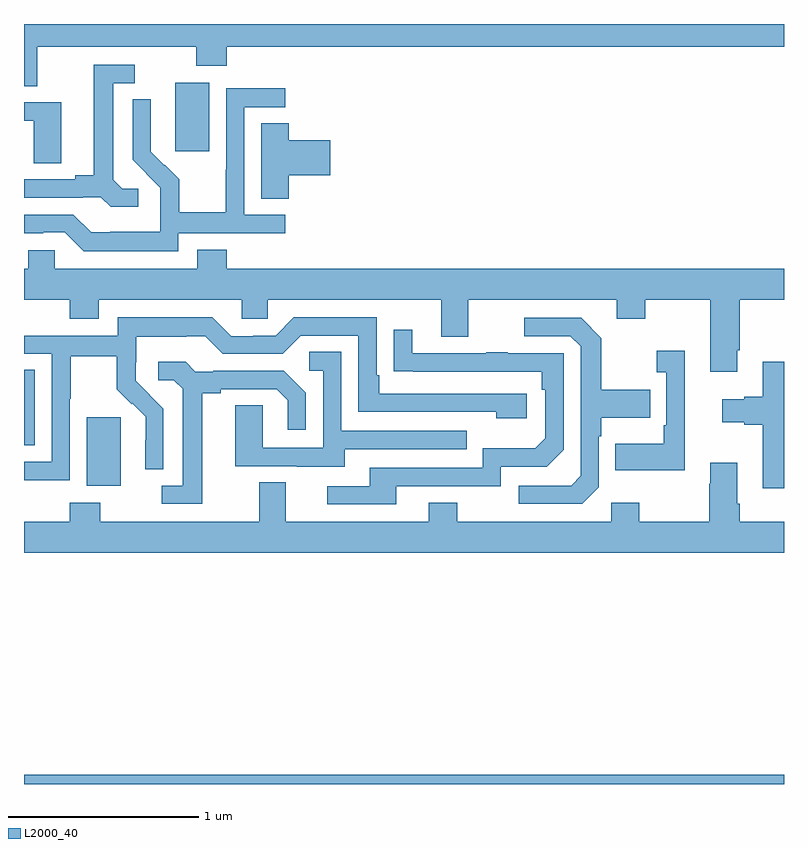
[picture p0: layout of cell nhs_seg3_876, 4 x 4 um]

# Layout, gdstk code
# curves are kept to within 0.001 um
import gdstk
lib = gdstk.Library(unit=1e-6, precision=1e-09)
def R(c, l, rs):  # rectangles x0, y0, x1, y1
    for r in rs: c.add(gdstk.rectangle(r[:2], r[2:], *l))
def P(c, l, *ps):  # polygons
    for p in ps: c.add(gdstk.Polygon(p, *l))
L2000_40 = (2000, 40)

nhs_seg3_876 = lib.new_cell('nhs_seg3_876')
R(nhs_seg3_876, L2000_40, [(157,666.4,161,666.448), (157.331,667.97,157.51,668.331), (157,668.182,157.057,668.579), (157.796,669.729,157.975,670.09)])
P(nhs_seg3_876, L2000_40, [(157.069,670.28),(157.906,670.28),(157.906,670.181),(158.066,670.181),(158.066,670.28),(161,670.28),(161,670.4),(157,670.4),(157,670.072),(157.069,670.072)],
  [(157.6,669.534),(157.518,669.534),(157.471,669.581),(157.471,670.089),(157.582,670.089),(157.582,670.185),(157.367,670.185),(157.367,669.605),(157.271,669.605),(157.271,669.582),(157,669.582),(157,669.486),(157.31,669.486),(157.31,669.489),(157.404,669.489),(157.456,669.437),(157.6,669.437)],
  [(157.812,669.3),(158.374,669.3),(158.374,669.396),(158.16,669.396),(158.16,669.963),(158.374,669.963),(158.374,670.062),(158.064,670.062),(158.064,669.632),(158.062,669.632),(158.062,669.409),(157.817,669.409),(157.817,669.583),(157.74,669.66),(157.737,669.657),(157.667,669.728),(157.668,670.004),(157.572,670.004),(157.572,669.686),(157.718,669.538),(157.718,669.441),(157.716,669.441),(157.716,669.307),(157.453,669.307),(157.453,669.303),(157.353,669.303),(157.26,669.396),(157,669.396),(157,669.3),(157.1,669.3),(157.1,669.303),(157.215,669.303),(157.315,669.203),(157.812,669.203)],
  [(157.195,669.987),(157,669.987),(157,669.891),(157.05,669.891),(157.05,669.667),(157.195,669.667)],
  [(158.393,669.605),(158.611,669.605),(158.611,669.788),(158.393,669.788),(158.393,669.878),(158.249,669.878),(158.249,669.481),(158.393,669.481)],
  [(160.753,668.683),(160.766,668.683),(160.766,668.948),(161,668.948),(161,669.112),(158.066,669.112),(158.066,669.211),(157.913,669.211),(157.913,669.112),(157.161,669.112),(157.161,669.21),(157.023,669.21),(157.023,669.112),(157,669.112),(157,668.948),(157.241,668.948),(157.241,668.849),(157.393,668.849),(157.393,668.948),(158.145,668.948),(158.145,668.85),(158.283,668.85),(158.283,668.948),(159.197,668.948),(159.197,668.754),(159.337,668.754),(159.337,668.948),(160.121,668.948),(160.121,668.849),(160.269,668.849),(160.269,668.948),(160.613,668.948),(160.613,668.571),(160.753,668.571)],
  [(157.242,668.428),(157.245,668.428),(157.245,668.652),(157.489,668.652),(157.489,668.477),(157.566,668.4),(157.569,668.403),(157.64,668.333),(157.64,668.21),(157.638,668.21),(157.638,668.056),(157.734,668.056),(157.734,668.374),(157.588,668.522),(157.588,668.619),(157.59,668.619),(157.59,668.753),(157.853,668.753),(157.853,668.757),(157.953,668.757),(158.046,668.664),(158.361,668.664),(158.457,668.76),(158.76,668.76),(158.76,668.358),(159.485,668.358),(159.485,668.324),(159.646,668.324),(159.646,668.454),(158.869,668.454),(158.869,668.551),(158.856,668.551),(158.856,668.856),(158.421,668.856),(158.325,668.76),(158.207,668.76),(158.207,668.757),(158.091,668.757),(157.991,668.857),(157.494,668.857),(157.494,668.76),(157,668.76),(157,668.664),(157.146,668.664),(157.146,668.097),(157,668.097),(157,667.999),(157.242,667.999)],
  [(160.026,667.962),(160.026,668.231),(160.039,668.231),(160.039,668.327),(160.295,668.327),(160.295,668.475),(160.039,668.475),(160.039,668.747),(159.933,668.853),(159.633,668.853),(159.633,668.757),(159.876,668.757),(159.93,668.703),(159.93,668.022),(159.879,667.971),(159.603,667.971),(159.603,667.875),(159.939,667.875)],
  [(158.959,667.968),(159.51,667.968),(159.51,668.07),(159.75,668.07),(159.84,668.16),(159.84,668.667),(159.545,668.667),(159.545,668.672),(159.433,668.672),(159.433,668.667),(159.043,668.667),(159.043,668.791),(158.947,668.791),(158.947,668.572),(159.724,668.571),(159.724,668.474),(159.744,668.474),(159.744,668.22),(159.691,668.167),(159.414,668.167),(159.414,668.064),(158.819,668.064),(158.819,667.968),(158.595,667.968),(158.595,667.872),(158.959,667.872)],
  [(160.478,668.68),(160.329,668.68),(160.329,668.567),(160.38,668.567),(160.38,668.287),(160.368,668.287),(160.368,668.191),(160.111,668.191),(160.111,668.051),(160.478,668.051)],
  [(158.689,668.163),(159.329,668.163),(159.329,668.259),(158.67,668.259),(158.67,668.675),(158.502,668.675),(158.502,668.574),(158.574,668.574),(158.574,668.169),(158.256,668.169),(158.256,668.393),(158.111,668.393),(158.111,668.073),(158.435,668.073),(158.435,668.069),(158.689,668.069)],
  [(157.939,668.456),(158.035,668.456),(158.035,668.478),(158.33,668.478),(158.387,668.421),(158.387,668.265),(158.484,668.265),(158.484,668.458),(158.368,668.574),(157.996,668.574),(157.996,668.571),(157.902,668.571),(157.85,668.623),(157.707,668.623),(157.707,668.526),(157.788,668.526),(157.835,668.479),(157.835,667.971),(157.725,667.971),(157.725,667.875),(157.939,667.875)],
  [(161,668.623),(160.889,668.623),(160.889,668.438),(160.79,668.438),(160.79,668.425),(160.674,668.425),(160.674,668.303),(160.79,668.303),(160.79,668.291),(160.889,668.291),(160.889,667.956),(161,667.956)],
  [(161,667.78),(160.766,667.78),(160.766,667.876),(160.753,667.876),(160.753,668.092),(160.613,668.092),(160.613,667.979),(160.606,667.979),(160.606,667.78),(160.239,667.78),(160.239,667.879),(160.092,667.879),(160.092,667.78),(159.279,667.78),(159.279,667.879),(159.131,667.879),(159.131,667.78),(158.377,667.78),(158.377,667.988),(158.237,667.988),(158.237,667.78),(157.401,667.78),(157.401,667.879),(157.241,667.879),(157.241,667.78),(157,667.78),(157,667.616),(161,667.616)])

lib.write_gds('nhs_seg3_876.gds')
